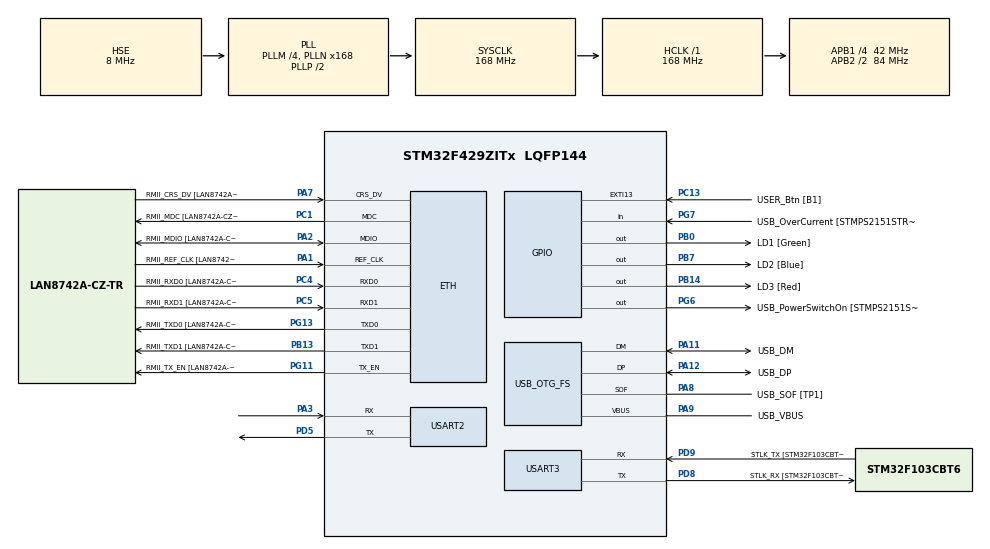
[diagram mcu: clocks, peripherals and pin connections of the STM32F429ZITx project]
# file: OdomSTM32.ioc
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ETH.MediaInterface=HAL_ETH_RMII_MODE
ETH.PHY_Name=LAN8742A_PHY_ADDRESS
ETH.PHY_Value=0
ETH.PhyAddress=0
Mcu.Family=STM32F4
Mcu.Name=STM32F429ZITx
Mcu.Package=LQFP144
NVIC.PriorityGroup=NVIC_PRIORITYGROUP_4
NVIC.USART2_IRQn=true\:0\:0\:false\:false\:true\:true\:true\:true
PA1.GPIO_Label=RMII_REF_CLK [LAN8742A-CZ-TR_REFCLK0]
PA1.Mode=RMII
PA1.Signal=ETH_REF_CLK
PA10.GPIO_Label=USB_ID
PA10.Signal=USB_OTG_FS_ID
PA11.GPIO_Label=USB_DM
PA11.Mode=Device_Only
PA11.Signal=USB_OTG_FS_DM
PA12.GPIO_Label=USB_DP
PA12.Mode=Device_Only
PA12.Signal=USB_OTG_FS_DP
PA13.GPIO_Label=TMS
PA13.Mode=Serial_Wire
PA13.Signal=SYS_JTMS-SWDIO
PA14.GPIO_Label=TCK
PA14.Mode=Serial_Wire
PA14.Signal=SYS_JTCK-SWCLK
PA2.GPIO_Label=RMII_MDIO [LAN8742A-CZ-TR_MDIO]
PA2.Mode=RMII
PA2.Signal=ETH_MDIO
PA3.Mode=Asynchronous
PA3.Signal=USART2_RX
PA7.GPIO_Label=RMII_CRS_DV [LAN8742A-CZ-TR_CRS_DV]
PA7.Mode=RMII
PA7.Signal=ETH_CRS_DV
PA8.GPIO_Label=USB_SOF [TP1]
PA8.Mode=Activate_SOF_FS
PA8.Signal=USB_OTG_FS_SOF
PA9.GPIO_Label=USB_VBUS
PA9.Mode=Activate_VBUS
PA9.Signal=USB_OTG_FS_VBUS
PB0.GPIO_Label=LD1 [Green]
PB0.Signal=GPIO_Output
PB13.GPIO_Label=RMII_TXD1 [LAN8742A-CZ-TR_TXD1]
PB13.Mode=RMII
PB13.Signal=ETH_TXD1
PB14.GPIO_Label=LD3 [Red]
PB14.Signal=GPIO_Output
PB7.GPIO_Label=LD2 [Blue]
PB7.Signal=GPIO_Output
PC1.GPIO_Label=RMII_MDC [LAN8742A-CZ-TR_MDC]
PC1.Mode=RMII
PC1.Signal=ETH_MDC
PC13.GPIO_Label=USER_Btn [B1]
PC13.Signal=GPXTI13
PC14/OSC32_IN.Mode=LSE-External-Oscillator
PC14/OSC32_IN.Signal=RCC_OSC32_IN
PC15/OSC32_OUT.Mode=LSE-External-Oscillator
PC15/OSC32_OUT.Signal=RCC_OSC32_OUT
PC4.GPIO_Label=RMII_RXD0 [LAN8742A-CZ-TR_RXD0]
PC4.Mode=RMII
PC4.Signal=ETH_RXD0
PC5.GPIO_Label=RMII_RXD1 [LAN8742A-CZ-TR_RXD1]
PC5.Mode=RMII
PC5.Signal=ETH_RXD1
PD5.Mode=Asynchronous
PD5.Signal=USART2_TX
PD8.GPIO_Label=STLK_RX [STM32F103CBT6_PA3]
PD8.Mode=Asynchronous
PD8.Signal=USART3_TX
PD9.GPIO_Label=STLK_TX [STM32F103CBT6_PA2]
PD9.Mode=Asynchronous
PD9.Signal=USART3_RX
PG11.GPIO_Label=RMII_TX_EN [LAN8742A-CZ-TR_TXEN]
PG11.Mode=RMII
PG11.Signal=ETH_TX_EN
PG13.GPIO_Label=RMII_TXD0 [LAN8742A-CZ-TR_TXD0]
PG13.Mode=RMII
PG13.Signal=ETH_TXD0
PG6.GPIO_Label=USB_PowerSwitchOn [STMPS2151STR_EN]
PG6.Signal=GPIO_Output
PG7.GPIO_Label=USB_OverCurrent [STMPS2151STR_FAULT]
PG7.Signal=GPIO_Input
PH0/OSC_IN.GPIO_Label=MCO [STM32F103CBT6_PA8]
PH0/OSC_IN.Mode=HSE-External-Clock-Source
PH0/OSC_IN.Signal=RCC_OSC_IN
PH1/OSC_OUT.Mode=HSE-External-Clock-Source
PH1/OSC_OUT.Signal=RCC_OSC_OUT
ProjectManager.HeapSize=0x200
ProjectManager.StackSize=0x400
ProjectManager.TargetToolchain=STM32CubeIDE
RCC.48MHZClocksFreq_Value=48000000
RCC.AHBFreq_Value=168000000
RCC.APB1CLKDivider=RCC_HCLK_DIV4
RCC.APB1Freq_Value=42000000
RCC.APB1TimFreq_Value=84000000
RCC.APB2CLKDivider=RCC_HCLK_DIV2
RCC.APB2Freq_Value=84000000
RCC.APB2TimCLKDivider=2
RCC.APB2TimFreq_Value=168000000
RCC.CortexFreq_Value=168000000
RCC.HCLKFreq_Value=168000000
RCC.HSE_VALUE=8000000
RCC.HSI_VALUE=16000000
RCC.PLLM=4
RCC.PLLMUL=RCC_PLL_MUL9
RCC.PLLN=168
RCC.PLLQ=7
RCC.PRESCALERUSB=RCC_USBCLKSOURCE_PLL_DIV1_5
RCC.SYSCLKFreq_VALUE=168000000
RCC.SYSCLKSource=RCC_SYSCLKSOURCE_PLLCLK
RCC.SYSCLKSourceVirtual=RCC_SYSCLKSOURCE_PLLCLK
RCC.USBFreq_Value=48000000
RCC.VCOOutputFreq_Value=336000000
USART2.VirtualMode=VM_ASYNC
USART3.VirtualMode=VM_ASYNC
USB_OTG_FS.VirtualMode=Device_Only
board=NUCLEO-F429ZI

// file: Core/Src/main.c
/* USER CODE BEGIN Header */
/**
 ******************************************************************************
 * @file           : main.c
 * @brief          : Main program body
 ******************************************************************************
 * @attention
 *
 * Copyright (c) 2025 STMicroelectronics.
 * All rights reserved.
 *
 * This software is licensed under terms that can be found in the LICENSE file
 * in the root directory of this software component.
 * If no LICENSE file comes with this software, it is provided AS-IS.
 *
 ******************************************************************************
 */
/* USER CODE END Header */
#include "main.h"
#include "stdint.h"
#include "stdio.h"
#include "string.h"
#include "stdbool.h"

/* USER CODE BEGIN PD */

char txBuffer[50];
char resetCmd[8];
char upDateBuff[8];
int state = 0;

/* USER CODE END PD */

ETH_TxPacketConfig TxConfig;

ETH_DMADescTypeDef DMARxDscrTab[ETH_RX_DESC_CNT]; /* Ethernet Rx DMA Descriptors */
ETH_DMADescTypeDef DMATxDscrTab[ETH_TX_DESC_CNT]; /* Ethernet Tx DMA Descriptors */

ETH_HandleTypeDef heth;

UART_HandleTypeDef huart2;
UART_HandleTypeDef huart3;

PCD_HandleTypeDef hpcd_USB_OTG_FS;

void SystemClock_Config(void);
static void MX_GPIO_Init(void);
static void MX_ETH_Init(void);
static void MX_USART2_UART_Init(void);
static void MX_USART3_UART_Init(void);
static void MX_USB_OTG_FS_PCD_Init(void);

/* USER CODE BEGIN 0 */

float pos_x = 0;
float pos_y = 0;
float zangle = 0;
float xangle = 0;
float yangle = 0;
float w_z = 0;

static uint8_t ch;
static union {
	uint8_t data[24];
	float ActVal[6];
} posture;

static uint8_t count = 0;
static uint8_t i = 0;

void HAL_UART_RxCpltCallback(UART_HandleTypeDef *huart) {

	if (huart->Instance == USART2) {
		switch (count) {
		case 0:
			if (ch == 0x0d)
				count++;
			else
				count = 0;
			break;
		case 1:
			if (ch == 0x0a) {
				i = 0;
				count++;
			} else if (ch != 0x0d) {
				count = 0;
			}
			break;
		case 2:
			posture.data[i] = ch;
			i++;
			if (i >= 24) {
				i = 0;
				count++;
			}
			break;
		case 3:
			if (ch == 0x0a)
				count++;
			else
				count = 0;
			break;
		case 4:
			if (ch == 0x0d) {
				zangle = posture.ActVal[0];
				xangle = posture.ActVal[1];
				yangle = posture.ActVal[2];
				pos_x = posture.ActVal[3];
				pos_y = posture.ActVal[4];
				w_z = posture.ActVal[5];
			}
			count = 0;
			break;
		default:
			count = 0;
			break;
		}
		HAL_UART_Receive_IT(&huart2, &ch, 1);
	}
}
void updateX(float newX) {

	sprintf(upDateBuff, "ACTX%.f", newX);

	HAL_UART_Transmit(&huart2, (uint8_t*) upDateBuff, strlen(upDateBuff), 100);
}
/* USER CODE END 0 */

int main(void) {

	/* MCU Configuration--------------------------------------------------------*/

	/* Reset of all peripherals, Initializes the Flash interface and the Systick. */
	HAL_Init();

	/* Configure the system clock */
	SystemClock_Config();

	/* Initialize all configured peripherals */
	MX_GPIO_Init();
	MX_ETH_Init();
	MX_USART2_UART_Init();
	MX_USART3_UART_Init();
	MX_USB_OTG_FS_PCD_Init();
	/* USER CODE BEGIN 2 */

	HAL_UART_Receive_IT(&huart2, &ch, 1);

	/* USER CODE END 2 */

	/* Infinite loop */
	while (1) {

		/* USER CODE BEGIN 3 */
		sprintf(txBuffer, "pos_x : %.2f, pos_y ; %.2f , theta ; %.2f\r\n",
				pos_x, pos_y, zangle);
		HAL_UART_Transmit(&huart3, (uint8_t*) txBuffer, strlen(txBuffer), 50);

		state = HAL_GPIO_ReadPin(GPIOC, GPIO_PIN_13);
		if (state == GPIO_PIN_SET) {
			while (HAL_GPIO_ReadPin(GPIOC, GPIO_PIN_13) != GPIO_PIN_RESET) {
				HAL_Delay(10);
			}
			HAL_GPIO_TogglePin(GPIOB, GPIO_PIN_0);
			sprintf(resetCmd, "ACT0\r\n");
			HAL_UART_Transmit_IT(&huart2, (uint8_t*) resetCmd,
					strlen(resetCmd));
			HAL_Delay(500);
		}
	}
	/* USER CODE END 3 */
}

void SystemClock_Config(void) {
	RCC_OscInitTypeDef RCC_OscInitStruct = { 0 };
	RCC_ClkInitTypeDef RCC_ClkInitStruct = { 0 };

	/** Configure the main internal regulator output voltage
	 */
	__HAL_RCC_PWR_CLK_ENABLE();
	__HAL_PWR_VOLTAGESCALING_CONFIG(PWR_REGULATOR_VOLTAGE_SCALE1);

	/** Initializes the RCC Oscillators according to the specified parameters
	 * in the RCC_OscInitTypeDef structure.
	 */
	RCC_OscInitStruct.OscillatorType = RCC_OSCILLATORTYPE_HSE;
	RCC_OscInitStruct.HSEState = RCC_HSE_BYPASS;
	RCC_OscInitStruct.PLL.PLLState = RCC_PLL_ON;
	RCC_OscInitStruct.PLL.PLLSource = RCC_PLLSOURCE_HSE;
	RCC_OscInitStruct.PLL.PLLM = 4;
	RCC_OscInitStruct.PLL.PLLN = 168;
	RCC_OscInitStruct.PLL.PLLP = RCC_PLLP_DIV2;
	RCC_OscInitStruct.PLL.PLLQ = 7;
	if (HAL_RCC_OscConfig(&RCC_OscInitStruct) != HAL_OK) {
		Error_Handler();
	}

	/** Initializes the CPU, AHB and APB buses clocks
	 */
	RCC_ClkInitStruct.ClockType = RCC_CLOCKTYPE_HCLK | RCC_CLOCKTYPE_SYSCLK
			| RCC_CLOCKTYPE_PCLK1 | RCC_CLOCKTYPE_PCLK2;
	RCC_ClkInitStruct.SYSCLKSource = RCC_SYSCLKSOURCE_PLLCLK;
	RCC_ClkInitStruct.AHBCLKDivider = RCC_SYSCLK_DIV1;
	RCC_ClkInitStruct.APB1CLKDivider = RCC_HCLK_DIV4;
	RCC_ClkInitStruct.APB2CLKDivider = RCC_HCLK_DIV2;

	if (HAL_RCC_ClockConfig(&RCC_ClkInitStruct, FLASH_LATENCY_5) != HAL_OK) {
		Error_Handler();
	}
}

static void MX_ETH_Init(void) {

	static uint8_t MACAddr[6];

	heth.Instance = ETH;
	MACAddr[0] = 0x00;
	MACAddr[1] = 0x80;
	MACAddr[2] = 0xE1;
	MACAddr[3] = 0x00;
	MACAddr[4] = 0x00;
	MACAddr[5] = 0x00;
	heth.Init.MACAddr = &MACAddr[0];
	heth.Init.MediaInterface = HAL_ETH_RMII_MODE;
	heth.Init.TxDesc = DMATxDscrTab;
	heth.Init.RxDesc = DMARxDscrTab;
	heth.Init.RxBuffLen = 1524;

	if (HAL_ETH_Init(&heth) != HAL_OK) {
		Error_Handler();
	}

	memset(&TxConfig, 0, sizeof(ETH_TxPacketConfig));
	TxConfig.Attributes = ETH_TX_PACKETS_FEATURES_CSUM
			| ETH_TX_PACKETS_FEATURES_CRCPAD;
	TxConfig.ChecksumCtrl = ETH_CHECKSUM_IPHDR_PAYLOAD_INSERT_PHDR_CALC;
	TxConfig.CRCPadCtrl = ETH_CRC_PAD_INSERT;

}

static void MX_USART2_UART_Init(void) {

	huart2.Instance = USART2;
	huart2.Init.BaudRate = 115200;
	huart2.Init.WordLength = UART_WORDLENGTH_8B;
	huart2.Init.StopBits = UART_STOPBITS_1;
	huart2.Init.Parity = UART_PARITY_NONE;
	huart2.Init.Mode = UART_MODE_TX_RX;
	huart2.Init.HwFlowCtl = UART_HWCONTROL_NONE;
	huart2.Init.OverSampling = UART_OVERSAMPLING_16;
	if (HAL_UART_Init(&huart2) != HAL_OK) {
		Error_Handler();
	}

}

static void MX_USART3_UART_Init(void) {

	huart3.Instance = USART3;
	huart3.Init.BaudRate = 115200;
	huart3.Init.WordLength = UART_WORDLENGTH_8B;
	huart3.Init.StopBits = UART_STOPBITS_1;
	huart3.Init.Parity = UART_PARITY_NONE;
	huart3.Init.Mode = UART_MODE_TX_RX;
	huart3.Init.HwFlowCtl = UART_HWCONTROL_NONE;
	huart3.Init.OverSampling = UART_OVERSAMPLING_16;
	if (HAL_UART_Init(&huart3) != HAL_OK) {
		Error_Handler();
	}

}

static void MX_USB_OTG_FS_PCD_Init(void) {

	hpcd_USB_OTG_FS.Instance = USB_OTG_FS;
	hpcd_USB_OTG_FS.Init.dev_endpoints = 4;
	hpcd_USB_OTG_FS.Init.speed = PCD_SPEED_FULL;
	hpcd_USB_OTG_FS.Init.dma_enable = DISABLE;
	hpcd_USB_OTG_FS.Init.phy_itface = PCD_PHY_EMBEDDED;
	hpcd_USB_OTG_FS.Init.Sof_enable = ENABLE;
	hpcd_USB_OTG_FS.Init.low_power_enable = DISABLE;
	hpcd_USB_OTG_FS.Init.lpm_enable = DISABLE;
	hpcd_USB_OTG_FS.Init.vbus_sensing_enable = ENABLE;
	hpcd_USB_OTG_FS.Init.use_dedicated_ep1 = DISABLE;
	if (HAL_PCD_Init(&hpcd_USB_OTG_FS) != HAL_OK) {
		Error_Handler();
	}

}

static void MX_GPIO_Init(void) {
	GPIO_InitTypeDef GPIO_InitStruct = { 0 };

	/* GPIO Ports Clock Enable */
	__HAL_RCC_GPIOC_CLK_ENABLE();
	__HAL_RCC_GPIOH_CLK_ENABLE();
	__HAL_RCC_GPIOA_CLK_ENABLE();
	__HAL_RCC_GPIOB_CLK_ENABLE();
	__HAL_RCC_GPIOD_CLK_ENABLE();
	__HAL_RCC_GPIOG_CLK_ENABLE();

	/*Configure GPIO pin Output Level */
	HAL_GPIO_WritePin(GPIOB, LD1_Pin | LD3_Pin | LD2_Pin, GPIO_PIN_RESET);

	/*Configure GPIO pin Output Level */
	HAL_GPIO_WritePin(USB_PowerSwitchOn_GPIO_Port, USB_PowerSwitchOn_Pin,
			GPIO_PIN_RESET);

	/*Configure GPIO pin : USER_Btn_Pin */
	GPIO_InitStruct.Pin = USER_Btn_Pin;
	GPIO_InitStruct.Mode = GPIO_MODE_IT_RISING;
	GPIO_InitStruct.Pull = GPIO_NOPULL;
	HAL_GPIO_Init(USER_Btn_GPIO_Port, &GPIO_InitStruct);

	/*Configure GPIO pins : LD1_Pin LD3_Pin LD2_Pin */
	GPIO_InitStruct.Pin = LD1_Pin | LD3_Pin | LD2_Pin;
	GPIO_InitStruct.Mode = GPIO_MODE_OUTPUT_PP;
	GPIO_InitStruct.Pull = GPIO_NOPULL;
	GPIO_InitStruct.Speed = GPIO_SPEED_FREQ_LOW;
	HAL_GPIO_Init(GPIOB, &GPIO_InitStruct);

	/*Configure GPIO pin : USB_PowerSwitchOn_Pin */
	GPIO_InitStruct.Pin = USB_PowerSwitchOn_Pin;
	GPIO_InitStruct.Mode = GPIO_MODE_OUTPUT_PP;
	GPIO_InitStruct.Pull = GPIO_NOPULL;
	GPIO_InitStruct.Speed = GPIO_SPEED_FREQ_LOW;
	HAL_GPIO_Init(USB_PowerSwitchOn_GPIO_Port, &GPIO_InitStruct);

	/*Configure GPIO pin : USB_OverCurrent_Pin */
	GPIO_InitStruct.Pin = USB_OverCurrent_Pin;
	GPIO_InitStruct.Mode = GPIO_MODE_INPUT;
	GPIO_InitStruct.Pull = GPIO_NOPULL;
	HAL_GPIO_Init(USB_OverCurrent_GPIO_Port, &GPIO_InitStruct);

}

void Error_Handler(void) {
	__disable_irq();
	while (1) {
	}
}
